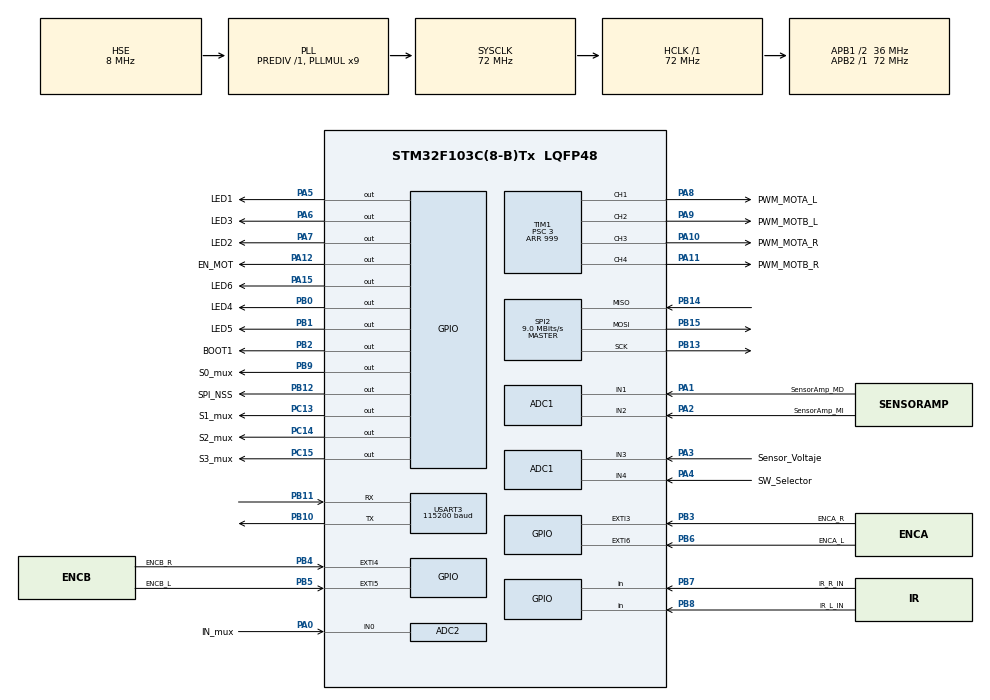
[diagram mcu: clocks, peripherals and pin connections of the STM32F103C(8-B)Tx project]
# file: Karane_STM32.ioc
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ADC1.Channel-0\#ChannelRegularConversion=ADC_CHANNEL_1
ADC1.Channel-1\#ChannelRegularConversion=ADC_CHANNEL_2
ADC1.Channel-2\#ChannelRegularConversion=ADC_CHANNEL_3
ADC1.Channel-3\#ChannelRegularConversion=ADC_CHANNEL_4
ADC1.ContinuousConvMode=DISABLE
ADC1.ExternalTrigConv=ADC_SOFTWARE_START
ADC1.NbrOfConversion=4
ADC1.NbrOfConversionFlag=1
ADC1.Rank-0\#ChannelRegularConversion=1
ADC1.Rank-1\#ChannelRegularConversion=2
ADC1.Rank-2\#ChannelRegularConversion=3
ADC1.Rank-3\#ChannelRegularConversion=4
ADC1.SamplingTime-0\#ChannelRegularConversion=ADC_SAMPLETIME_55CYCLES_5
ADC1.SamplingTime-1\#ChannelRegularConversion=ADC_SAMPLETIME_55CYCLES_5
ADC1.SamplingTime-2\#ChannelRegularConversion=ADC_SAMPLETIME_55CYCLES_5
ADC1.SamplingTime-3\#ChannelRegularConversion=ADC_SAMPLETIME_55CYCLES_5
ADC1.master=1
ADC2.Channel-5\#ChannelRegularConversion=ADC_CHANNEL_0
ADC2.ContinuousConvMode=DISABLE
ADC2.ExternalTrigConv=ADC_SOFTWARE_START
ADC2.NbrOfConversionFlag=1
ADC2.Rank-5\#ChannelRegularConversion=1
ADC2.SamplingTime-5\#ChannelRegularConversion=ADC_SAMPLETIME_55CYCLES_5
Dma.ADC1.0.Direction=DMA_PERIPH_TO_MEMORY
Dma.ADC1.0.Instance=DMA1_Channel1
Dma.ADC1.0.MemDataAlignment=DMA_MDATAALIGN_HALFWORD
Dma.ADC1.0.MemInc=DMA_MINC_ENABLE
Dma.ADC1.0.Mode=DMA_CIRCULAR
Dma.ADC1.0.PeriphDataAlignment=DMA_PDATAALIGN_HALFWORD
Dma.ADC1.0.PeriphInc=DMA_PINC_DISABLE
Dma.ADC1.0.Priority=DMA_PRIORITY_LOW
Dma.Request0=ADC1
Mcu.Family=STM32F1
Mcu.Name=STM32F103C(8-B)Tx
Mcu.Package=LQFP48
NVIC.DMA1_Channel1_IRQn=true\:2\:0\:true\:false\:true\:false\:true\:true
NVIC.EXTI3_IRQn=true\:0\:0\:false\:false\:true\:true\:true\:true
NVIC.EXTI4_IRQn=true\:0\:0\:false\:false\:true\:true\:true\:true
NVIC.EXTI9_5_IRQn=true\:0\:0\:false\:false\:true\:true\:true\:true
NVIC.PriorityGroup=NVIC_PRIORITYGROUP_4
NVIC.TIM3_IRQn=true\:1\:0\:true\:false\:true\:true\:true\:true
PA0-WKUP.GPIO_Label=IN_mux
PA0-WKUP.Signal=ADCx_IN0
PA1.GPIO_Label=SensorAmp_MD
PA1.Signal=ADCx_IN1
PA10.GPIO_Label=PWM_MOTA_R
PA10.Signal=S_TIM1_CH3
PA11.GPIO_Label=PWM_MOTB_R
PA11.Signal=S_TIM1_CH4
PA12.GPIO_Label=EN_MOT
PA12.Signal=GPIO_Output
PA13.Mode=Serial_Wire
PA13.Signal=SYS_JTMS-SWDIO
PA14.Mode=Serial_Wire
PA14.Signal=SYS_JTCK-SWCLK
PA15.GPIO_Label=LED6
PA15.PinState=GPIO_PIN_SET
PA15.Signal=GPIO_Output
PA2.GPIO_Label=SensorAmp_MI
PA2.Signal=ADCx_IN2
PA3.GPIO_Label=Sensor_Voltaje
PA3.Signal=ADCx_IN3
PA4.GPIO_Label=SW_Selector
PA4.Signal=ADCx_IN4
PA5.GPIO_Label=LED1
PA5.PinState=GPIO_PIN_SET
PA5.Signal=GPIO_Output
PA6.GPIO_Label=LED3
PA6.PinState=GPIO_PIN_SET
PA6.Signal=GPIO_Output
PA7.GPIO_Label=LED2
PA7.PinState=GPIO_PIN_SET
PA7.Signal=GPIO_Output
PA8.GPIO_Label=PWM_MOTA_L
PA8.Signal=S_TIM1_CH1
PA9.GPIO_Label=PWM_MOTB_L
PA9.Signal=S_TIM1_CH2
PB0.GPIO_Label=LED4
PB0.PinState=GPIO_PIN_SET
PB0.Signal=GPIO_Output
PB1.GPIO_Label=LED5
PB1.PinState=GPIO_PIN_SET
PB1.Signal=GPIO_Output
PB10.Mode=Asynchronous
PB10.Signal=USART3_TX
PB11.Mode=Asynchronous
PB11.Signal=USART3_RX
PB12.GPIO_Label=SPI_NSS
PB12.GPIO_Speed=GPIO_SPEED_FREQ_HIGH
PB12.PinState=GPIO_PIN_SET
PB12.Signal=GPIO_Output
PB13.Mode=Full_Duplex_Master
PB13.Signal=SPI2_SCK
PB14.Mode=Full_Duplex_Master
PB14.Signal=SPI2_MISO
PB15.Mode=Full_Duplex_Master
PB15.Signal=SPI2_MOSI
PB2.GPIO_Label=BOOT1
PB2.Signal=GPIO_Output
PB3.GPIO_Label=ENCA_R
PB3.GPIO_ModeDefaultEXTI=GPIO_MODE_IT_RISING_FALLING
PB3.Signal=GPXTI3
PB4.GPIO_Label=ENCB_R
PB4.GPIO_ModeDefaultEXTI=GPIO_MODE_IT_RISING_FALLING
PB4.Signal=GPXTI4
PB5.GPIO_Label=ENCB_L
PB5.GPIO_ModeDefaultEXTI=GPIO_MODE_IT_RISING_FALLING
PB5.Signal=GPXTI5
PB6.GPIO_Label=ENCA_L
PB6.GPIO_ModeDefaultEXTI=GPIO_MODE_IT_RISING_FALLING
PB6.Signal=GPXTI6
PB7.GPIO_Label=IR_R_IN
PB7.Signal=GPIO_Input
PB8.GPIO_Label=IR_L_IN
PB8.Signal=GPIO_Input
PB9.GPIO_Label=S0_mux
PB9.GPIO_Speed=GPIO_SPEED_FREQ_HIGH
PB9.Signal=GPIO_Output
PC13-TAMPER-RTC.GPIO_Label=S1_mux
PC13-TAMPER-RTC.GPIO_Speed=GPIO_SPEED_FREQ_HIGH
PC13-TAMPER-RTC.Signal=GPIO_Output
PC14-OSC32_IN.GPIO_Label=S2_mux
PC14-OSC32_IN.GPIO_Speed=GPIO_SPEED_FREQ_HIGH
PC14-OSC32_IN.Signal=GPIO_Output
PC15-OSC32_OUT.GPIO_Label=S3_mux
PC15-OSC32_OUT.GPIO_Speed=GPIO_SPEED_FREQ_HIGH
PC15-OSC32_OUT.Signal=GPIO_Output
PD0-OSC_IN.Mode=HSE-External-Oscillator
PD0-OSC_IN.Signal=RCC_OSC_IN
PD1-OSC_OUT.Mode=HSE-External-Oscillator
PD1-OSC_OUT.Signal=RCC_OSC_OUT
ProjectManager.HeapSize=0x200
ProjectManager.StackSize=0x400
ProjectManager.TargetToolchain=STM32CubeIDE
RCC.ADCPresc=RCC_ADCPCLK2_DIV6
RCC.AHBFreq_Value=72000000
RCC.APB1CLKDivider=RCC_HCLK_DIV2
RCC.APB1Freq_Value=36000000
RCC.APB1TimFreq_Value=72000000
RCC.APB2Freq_Value=72000000
RCC.APB2TimFreq_Value=72000000
RCC.HCLKFreq_Value=72000000
RCC.PLLMUL=RCC_PLL_MUL9
RCC.PLLSourceVirtual=RCC_PLLSOURCE_HSE
RCC.SYSCLKFreq_VALUE=72000000
RCC.SYSCLKSource=RCC_SYSCLKSOURCE_PLLCLK
RCC.USBFreq_Value=72000000
SH.ADCx_IN0.0=ADC2_IN0,IN0
SH.ADCx_IN1.0=ADC1_IN1,IN1
SH.ADCx_IN2.0=ADC1_IN2,IN2
SH.ADCx_IN3.0=ADC1_IN3,IN3
SH.ADCx_IN4.0=ADC1_IN4,IN4
SH.S_TIM1_CH1.0=TIM1_CH1,PWM Generation1 CH1
SH.S_TIM1_CH2.0=TIM1_CH2,PWM Generation2 CH2
SH.S_TIM1_CH3.0=TIM1_CH3,PWM Generation3 CH3
SH.S_TIM1_CH4.0=TIM1_CH4,PWM Generation4 CH4
SPI2.BaudRatePrescaler=SPI_BAUDRATEPRESCALER_4
SPI2.CalculateBaudRate=9.0 MBits/s
SPI2.Direction=SPI_DIRECTION_2LINES
SPI2.Mode=SPI_MODE_MASTER
SPI2.VirtualType=VM_MASTER
TIM1.Channel-PWM\ Generation1\ CH1=TIM_CHANNEL_1
TIM1.Channel-PWM\ Generation2\ CH2=TIM_CHANNEL_2
TIM1.Channel-PWM\ Generation3\ CH3=TIM_CHANNEL_3
TIM1.Channel-PWM\ Generation4\ CH4=TIM_CHANNEL_4
TIM1.Period=999
TIM1.Prescaler=3
TIM3.AutoReloadPreload=TIM_AUTORELOAD_PRELOAD_ENABLE
TIM3.Period=49
TIM3.Prescaler=71
USART3.BaudRate=115200
USART3.VirtualMode=VM_ASYNC
VP_TIM1_VS_ClockSourceINT.Mode=Internal
VP_TIM3_VS_ClockSourceINT.Mode=Internal
board=custom

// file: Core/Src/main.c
/* USER CODE BEGIN Header */
/**
  ******************************************************************************
  * @file           : main.c
  * @brief          : Main program body
  ******************************************************************************
  * @attention
  *
  * Copyright (c) 2025 STMicroelectronics.
  * All rights reserved.
  *
  * This software is licensed under terms that can be found in the LICENSE file
  * in the root directory of this software component.
  * If no LICENSE file comes with this software, it is provided AS-IS.
  *
  ******************************************************************************
  */
/* USER CODE END Header */
#include "main.h"
#include "adc.h"
#include "dma.h"
#include "spi.h"
#include "tim.h"
#include "usart.h"
#include "gpio.h"

/* USER CODE BEGIN Includes */
#include <string.h>
#include <stdio.h>
#include <math.h>
#include <stdbool.h>
#include "LIB_MPU6500_SPI.h"
#include "LIB_DEBUG.h"
#include "LIB_FUNCIONES.h"
#include "LIB_MENU.h"
#include "LIB_Motores.h"

/* USER CODE END Includes */

/* USER CODE BEGIN PD */

#undef	DEBUG
#define DEBUG		0

#define	ADC_VREF	3.36
#define	Volt_Proteccion_Batt 	6.0

#define PWM_offset 	350
#define	Linea_setpoint	500
#define tickMax 20
#define tickMin 2
#define GyroMax 400.0f

#define NumSensores 16

#define	KPLINEA 1.8
#define	KILINEA 0.001
#define	KDLINEA 0.001

#define	KPGYRO 1.9
#define	KIGYRO 0.00
#define	KDGYRO 0.0

#define KPML	1.2
#define KIML	2
#define KDML	0.0

#define KPMR	1.2
#define KIMR	2
#define KDMR	0.0

#define umbralMenu			150
#define umbralGyro			1.0f
/* USER CODE END PD */

/* USER CODE BEGIN PV */

/* Se inicializan todas las estructuras a usar */

volatile odometria_init_t odometria={0.0,0.0,0.0,0.0,0,0};
MPU6500_Init_Values_t 	MPU6500_Raw;
MPU6500_Init_float_t	MPU6500_Conv;
MPU6500_status_e	MPU6500_Status;
Motores_Init	Motor;
PID	LineaGyro={KPLINEA,KILINEA,KDLINEA,	0,0,300,GyroMax};
PID		Gyro= {KPGYRO,KIGYRO,KDGYRO,	0,0,400,800};
PID	PwmBaseML={KPML,KIML,KDML,		0,0,400,600};
PID	PwmBaseMR={KPMR,KIMR,KDMR,		0,0,400,600};

/* Variables para los ADC */

uint16_t ADC_DMA[4];	//datos DMA
volatile uint8_t ValorBTN=0;
float valorAnteriorFiltro=0;
float voltaje,A_ML,A_MR=0;

/* Variables para los encoders*/
const int8_t estadoTabla[16]={0,-1,1,0,1,0,0,-1,-1,0,0,1,0,1,-1,0}; //valor encoders de tabla de verdad
volatile uint8_t estadoAnterior_L=0;
volatile uint8_t estadoAnterior_R=0;
volatile int32_t actualTickMR,anteriorMR,deltaTicksMR,PeriodoTicksMR=0;
volatile int32_t actualTickML,anteriorML,deltaTicksML,PeriodoTicksML=0;

/*variables para Regleta de sensores*/

const uint8_t PosicionesSensores[16]={7,6,5,4,3,2,1,0,8,9,10,11,12,13,14,15};

volatile uint16_t 	RegletaSensores[16]={0};
int16_t UltimaPosicion	=Linea_setpoint;	// var donde se almacenara la posicion en la linea
volatile unsigned long sumaPonderada = 0;
volatile unsigned long sumaLecturas = 0;
volatile unsigned long peso=0;

/*Timers para funciones*/
volatile bool		enableProg=false;
volatile bool		Timer_DEBUG=false;
volatile bool		flagTimer10ms=false;
volatile bool 		flagStartPID=false;
volatile bool 		flagTimerGyro=false;
volatile bool 		flagStartRegleta=false;

/* Variables para el menu */
bool 	validarPulso=false;
uint8_t valorMenu=0;
bool	validarInicio=false;

float GyroObjetivo=0;
float PwmObjetivo=0;
float anguloGyro=0;
int32_t tick_L=0;
int32_t tick_R=0;
float PWMbase_MR=0;
float PWMbase_ML=0;

float setpoint_L=tickMax;
float setpoint_R=tickMax;
int16_t EscalonTick=0;
/////////////////////
/* USER CODE END PV */

void SystemClock_Config(void);
/* USER CODE BEGIN PFP */
void InicializarSistema();
void InicializarValores();
/* USER CODE END PFP */

int main(void)
{

  /* MCU Configuration--------------------------------------------------------*/

  /* Reset of all peripherals, Initializes the Flash interface and the Systick. */
  HAL_Init();

  /* Configure the system clock */
  SystemClock_Config();

  /* Initialize all configured peripherals */
  MX_GPIO_Init();
  MX_DMA_Init();
  MX_ADC1_Init();
  MX_SPI2_Init();
  MX_USART3_UART_Init();
  MX_TIM1_Init();
  MX_ADC2_Init();
  MX_TIM3_Init();
  /* USER CODE BEGIN 2 */
  InicializarSistema();

  /* USER CODE END 2 */

  /* Infinite loop */
  while (1)
  {

    /* USER CODE BEGIN 3 */

	if(flagTimerGyro)
	{

		/* Dependiendo donde se necesite se puede cambiar ahora esta a 1ms*/
		MPU6500_Read(&MPU6500_Raw);
		MPU6500_Conv=MPU6500_Converter(&MPU6500_Raw);
		if(MPU6500_Conv.MPU6500_floatGX<umbralGyro && MPU6500_Conv.MPU6500_floatGX>-umbralGyro)
		{
			MPU6500_Conv.MPU6500_floatGX=0.0f;
		}
		if(MPU6500_Conv.MPU6500_floatGY<umbralGyro && MPU6500_Conv.MPU6500_floatGY>-umbralGyro)
		{
			MPU6500_Conv.MPU6500_floatGY=0.0f;
		}
		if(MPU6500_Conv.MPU6500_floatGZ<umbralGyro && MPU6500_Conv.MPU6500_floatGZ>-umbralGyro)
		{
			MPU6500_Conv.MPU6500_floatGZ=0.0f;
		}
		anguloGyro+=(MPU6500_Conv.MPU6500_floatGZ*0.001f);
		/***********************************************************/
		flagTimerGyro=false;
		flagStartRegleta=true;
	}
	/*
	 *  Aca se ejecutara el PID una vez terminado de leer el mpu y la regleta de sensores
	 * se puede cambiar a un tiempo fijo
	 *
	 */
	if (flagStartPID ) {
		/*
		 * Primero obtenemos el PID para obtener los grados que debera girar el robot respecto
		 * al centro de la linea no superar -400g/s y +400 g/s o se puede cambia segun necesidad
		 *
		 */

		if(UltimaPosicion<5 && UltimaPosicion>-5)
		{
			UltimaPosicion=0;
		}

		GyroObjetivo=funcion_calcularPID(&LineaGyro, 0, UltimaPosicion, 0.0015f);

		/*	Con este valor recien entrar al pid que nos importa */

		PwmObjetivo=funcion_calcularPID(&Gyro, GyroObjetivo, MPU6500_Conv.MPU6500_floatGZ, 0.0015f);
		PWMbase_ML=270;
		PWMbase_MR=270;

		Motor.PWM_ML=(int16_t)(PWMbase_ML-PwmObjetivo);
		Motor.PWM_MR=(int16_t)(PWMbase_MR+PwmObjetivo);
		PWM_Motores(&Motor);

		flagStartPID=false;
	}

	/*Aca calcularemos los datos que no necesitan ser procesados a alta velocidad*/
	if(flagTimer10ms)
	{
		/*obtenemos el voltaje*/
		int16_t ConvFloat=(int16_t)ADC_DMA[2];
		voltaje=(float)ConvFloat*(ADC_VREF/4095.0f);
		voltaje*=3.2641f;

		/*
		 * Para la corriente se usa Vref=(I*G*Rshunt)+Vref
		 * quedando con R=0.05 Vref=3.3v/2   G=20
		 * I=Vref-1.65v
		 * */
		ConvFloat=(int16_t)(ADC_DMA[1]-2048);
		A_ML=(float)ConvFloat*(ADC_VREF/4095.0f);

		ConvFloat=(int16_t)(ADC_DMA[0]-2048);
		A_MR=(float)ConvFloat*(ADC_VREF/4095.0f);
		A_MR*=(-1);

		//Lectura ADC para luego validacion en el menu
		if (ADC_DMA[3] > 3500)      ValorBTN = BTN_DERECHA;   // Rango 3500 - 4095
		else if (ADC_DMA[3] > 2400) ValorBTN = BTN_ACEPTAR;   // Rango 2400 - 3499
		else if (ADC_DMA[3] > 1800) ValorBTN = BTN_IZQUIERDA; // Rango 1800 - 2399
		else                     ValorBTN = 0;             // Reposo / Ruido

		static uint8_t confirmacionPulso=0;
		if(ValorBTN!=0)
		{
			confirmacionPulso++;
			if(confirmacionPulso>20)
			{
				if(!validarPulso)
				{
					validarPulso=true;
					valorMenu=Menu_Navegacion(ValorBTN);
					Menu_ubicacion(valorMenu);
				}
			}
		}
		else{
			confirmacionPulso=0;
			validarPulso=false;
		}

		/*
		 * Codigo para segun el valor de la linea obtener un factor para reducir los tick
		 * y tener una rampa que segun cual sea el valor sumar o restar
		 */

		int16_t Encoder_setpoint=0;
		int16_t valorEncoder=UltimaPosicion;
		valorEncoder=(valorEncoder<0)?valorEncoder*(-1):valorEncoder;
		if (valorEncoder > 200) {
		    // Si hay curva, el setpoint baja proporcionalmente
		    float factorEncoder = (valorEncoder - 100) / GyroMax;
		    Encoder_setpoint =(int16_t) tickMax - (factorEncoder * (tickMax - tickMin));
		} else {
		    Encoder_setpoint = tickMax;

		}
		/// revisar esto para bajar los ticks cuando este en curva o quitar lo anterior y solo
		/// usar esto ya que lo anterior no tienen mucho sentido ya que restat tick y luego
		/// volvemos a sumarlo

		if (EscalonTick < Encoder_setpoint) EscalonTick += 1;
		else if (EscalonTick > Encoder_setpoint) EscalonTick -= 1;

		/*
		 * Teniendo el valor de ticks segun la linea donde estemos se hace el pid antes
		 * leyendo los ticks del encoder y asi obteniendo el PWM base para cada motor
		 * revisarlo ya que puede meter valores negativos al enconder y no es lo optimo
		 */
        float ajusteTicks = PwmObjetivo / 40.0f;

        setpoint_L = (float)EscalonTick - ajusteTicks;
        setpoint_R = (float)EscalonTick + ajusteTicks;

		tick_R=odometria.ticks_R;
		tick_L=odometria.ticks_L;
		odometria.ticks_R=0;
		odometria.ticks_L=0;

			PWMbase_ML=0;//funcion_calcularPID(&PwmBaseML,setpoint_L, (float) tick_L, 0.02);
			PWMbase_MR=0;//funcion_calcularPID(&PwmBaseMR, setpoint_R, (float) tick_R, 0.02);

		flagTimer10ms=false;
	}

	if(0)//Timer_DEBUG)
	{

		char buffer[30];
		sprintf(buffer,"angulo=%0.2f ,",anguloGyro);
		HAL_UART_Transmit(&huart3, (uint8_t *)buffer, strlen(buffer), HAL_MAX_DELAY);

		//DEBUG_RegletaSensores(UltimaPosicion);
		//DEBUG_IMU_Conv(MPU6500_Conv.MPU6500_floatAX,MPU6500_Conv.MPU6500_floatAY,MPU6500_Conv.MPU6500_floatAZ,MPU6500_Conv.MPU6500_floatGX,MPU6500_Conv.MPU6500_floatGY,MPU6500_Conv.MPU6500_floatGZ);
		//DEBUG_IMU_Raw(MPU6500_Datos.MPU6500_ACCELX.MPU6500_int16,MPU6500_Datos.MPU6500_ACCELY.MPU6500_int16,MPU6500_Datos.MPU6500_ACCELZ.MPU6500_int16,	MPU6500_Datos.MPU6500_GYROX.MPU6500_int16,MPU6500_Datos.MPU6500_GYROY.MPU6500_int16,MPU6500_Datos.MPU6500_GYROZ.MPU6500_int16);

		//DEBUG_ADC_Value(voltaje, A_ML, A_MR);
		//DEBUG_ADC_RAW(ADC_DMA[0], ADC_DMA[1], ADC_DMA[2], ADC_DMA[3]);

		//DEBUG_Encoders(odometria.ticks_L, odometria.ticks_R, 0);
		DEBUG_Encoders(tick_L,tick_R, 0);
		Timer_DEBUG=false;
	}

	/* Aca se ejecutara el codigo si se dio aceptar y dependiendo el menu donde este*/
	if(Menu_Ejecucion())
	{
		switch (valorMenu) {
		case Opcion_Calibracion_Sensores:
			break;
		case Opcion_Iniciar_CodigoA:
			if(!validarInicio)
			{
				HAL_Delay(1000);
				validarInicio=true;
				enableProg=true;
				Motor.ENABLE=true;
				InicializarValores();
			}
			break;
		}
	}
	else{
		validarInicio=false;
		enableProg=false;
		Motor.ENABLE=false;
	}

  }
  /* USER CODE END 3 */
}

void SystemClock_Config(void)
{
  RCC_OscInitTypeDef RCC_OscInitStruct = {0};
  RCC_ClkInitTypeDef RCC_ClkInitStruct = {0};
  RCC_PeriphCLKInitTypeDef PeriphClkInit = {0};

  /** Initializes the RCC Oscillators according to the specified parameters
  * in the RCC_OscInitTypeDef structure.
  */
  RCC_OscInitStruct.OscillatorType = RCC_OSCILLATORTYPE_HSE;
  RCC_OscInitStruct.HSEState = RCC_HSE_ON;
  RCC_OscInitStruct.HSEPredivValue = RCC_HSE_PREDIV_DIV1;
  RCC_OscInitStruct.HSIState = RCC_HSI_ON;
  RCC_OscInitStruct.PLL.PLLState = RCC_PLL_ON;
  RCC_OscInitStruct.PLL.PLLSource = RCC_PLLSOURCE_HSE;
  RCC_OscInitStruct.PLL.PLLMUL = RCC_PLL_MUL9;
  if (HAL_RCC_OscConfig(&RCC_OscInitStruct) != HAL_OK)
  {
    Error_Handler();
  }

  /** Initializes the CPU, AHB and APB buses clocks
  */
  RCC_ClkInitStruct.ClockType = RCC_CLOCKTYPE_HCLK|RCC_CLOCKTYPE_SYSCLK
                              |RCC_CLOCKTYPE_PCLK1|RCC_CLOCKTYPE_PCLK2;
  RCC_ClkInitStruct.SYSCLKSource = RCC_SYSCLKSOURCE_PLLCLK;
  RCC_ClkInitStruct.AHBCLKDivider = RCC_SYSCLK_DIV1;
  RCC_ClkInitStruct.APB1CLKDivider = RCC_HCLK_DIV2;
  RCC_ClkInitStruct.APB2CLKDivider = RCC_HCLK_DIV1;

  if (HAL_RCC_ClockConfig(&RCC_ClkInitStruct, FLASH_LATENCY_2) != HAL_OK)
  {
    Error_Handler();
  }
  PeriphClkInit.PeriphClockSelection = RCC_PERIPHCLK_ADC;
  PeriphClkInit.AdcClockSelection = RCC_ADCPCLK2_DIV6;
  if (HAL_RCCEx_PeriphCLKConfig(&PeriphClkInit) != HAL_OK)
  {
    Error_Handler();
  }
}

/* USER CODE BEGIN 4 */
void InicializarSistema()
{
	HAL_Delay(2000);
	  Menu_aviso(Aviso_ok);

	  MPU6500_Status=MPU6500_Init(&MPU6500_Raw,50,DPS250,G2);
	  if (MPU6500_Status==MPU6500_fail) {
	  	for (;;) {
	  		DEBUG_Imprimir("Fallo al iniciar MPU\r\n");
	  		Menu_aviso(Aviso_fallo);
	  		}
	  }
	  DEBUG_Imprimir("Exito al iniciar MPU\r\n");

	  HAL_Delay(3000);
	  Menu_aviso(Apagar_LED);
	  Inicializar_Motores(&Motor);
	 __HAL_TIM_MOE_ENABLE(&htim1);

	 HAL_ADC_Start_DMA(&hadc1, (uint32_t *)ADC_DMA, 4);
	 //HAL_ADC_Start(&hadc2);
	 HAL_TIM_Base_Start_IT(&htim3);

	 enableProg=false;

}
void HAL_GPIO_EXTI_Callback(uint16_t GPIO_Pin)
{
		/*
		 * Se leen los enconder con tabla de verdad para sumar o restar cada uno respectivamente
		 * estadoTabla[16]={0,-1,1,0,1,0,0,-1,-1,0,0,1,0,1,-1,0}
		 * se niega un lado debido a la conexion que tiene
		 */
	if(GPIO_Pin==ENCA_L_Pin||GPIO_Pin==ENCB_L_Pin)
		{
		uint8_t bitStatusL=((HAL_GPIO_ReadPin(ENCA_L_GPIO_Port, ENCA_L_Pin))?2:0) | ((HAL_GPIO_ReadPin(ENCB_L_GPIO_Port, ENCB_L_Pin))?1:0);
		odometria.ticks_L+=estadoTabla[((estadoAnterior_L<<2)|bitStatusL)];
		estadoAnterior_L=bitStatusL;
		}
	if(GPIO_Pin==ENCA_R_Pin||GPIO_Pin==ENCB_R_Pin)
		{
		uint8_t bitStatusR=((HAL_GPIO_ReadPin(ENCA_R_GPIO_Port, ENCA_R_Pin))?2:0) | ((HAL_GPIO_ReadPin(ENCB_R_GPIO_Port, ENCB_R_Pin))?1:0);
		odometria.ticks_R+=(-estadoTabla[((estadoAnterior_R<<2)|bitStatusR)]);
		estadoAnterior_R=bitStatusR;
		}
}
void HAL_TIM_PeriodElapsedCallback(TIM_HandleTypeDef *htim) {
   if (htim->Instance == TIM3) {
	   /*	Timer3 a 200us preescaler de 71 y cnt 199
	    * 				50us preescaler 71 y cnt 49 prueba
	    *	Iniciamos conversion del adc
	    *	(se podria mejorar probando tiempo mas cortos)
	    */
	  // static uint16_t	ContadorTimDMA_PID1=0;
	  /// static uint16_t	ContadorTimPID2=0;
	   static uint16_t	ContadorTimerDEBUG=0;

	   static uint16_t	ContadorTimer10ms=0;
	   static uint8_t 	MuxSel=0;
	   static uint16_t ContadorTimerGyro=0;

	   if(ContadorTimerDEBUG++>8000)
		{
		   Timer_DEBUG=true;
		   ContadorTimerDEBUG=0;
		}

	   if (ContadorTimer10ms++>200) {
		   // 1. Asegurar que el bit DMA esté activo
		   ADC1->CR2 |= ADC_CR2_DMA;
		   // 2. Configurar el disparador para SWSTART (esto es lo que le falta a tu código)
		   // EXTTRIG (bit 20) debe ser 1 y EXTSEL (bits 19:17) debe ser 111 (7 decimal)
		   ADC1->CR2 |= (0x7 << 17) | ADC_CR2_EXTTRIG;
		   // 3. Iniciar la conversión
		   ADC1->CR2 |= ADC_CR2_SWSTART;

		   flagTimer10ms=true;
		   ContadorTimer10ms=0;
	   }
	   if(ContadorTimerGyro++>20)
	   {
		   /*Timer a 1ms para el gyro*/
		   flagTimerGyro=true;
		   ContadorTimerGyro=0;
	   }

	   if(flagStartRegleta)
	   {
		   /* Terminado la lectura de Gyro a 1ms manda una bandera para empezar
		    * lectura de regleta y terminado se borra la flag para esperar otra bandera
		    * */

	   if(MuxSel<16)
	   {
		   ADC2->CR2 |= ADC_CR2_ADON;
		   ADC2->CR2 &= ~ADC_CR2_DMA;

		   // 2. Configurar el trigger a Software (SWSTART = 0x7 en EXTSEL)
		   // Esto es vital: si EXTSEL no es 7, SWSTART no hace nada.
		   ADC2->CR2 |= (0x7 << 17) | ADC_CR2_EXTTRIG;

		   // 3. Disparar
		   ADC2->CR2 |= ADC_CR2_SWSTART;

		   while (!(ADC2->SR & ADC_SR_EOC));

		   RegletaSensores[MuxSel] = (uint16_t)ADC2->DR;
		   //if(RegletaSensores[MuxSel]>RegletaMax[MuxSel]){RegletaMax[MuxSel]=RegletaSensores[MuxSel];}
		   //if(RegletaSensores[MuxSel]<RegletaMin[MuxSel]){RegletaMin[MuxSel]=RegletaSensores[MuxSel];}

		   // Se realizara una media ponderada normalizada entre 0-1000 donde 0 es iquierda y 1000 derecha
		   // Umbral de ruido: 10% del valor máximo (4095 * 0.1 = 409)
		   if (RegletaSensores[MuxSel] > 600) {
			   // Peso del sensor (de 0 a 1000)
			   peso = (MuxSel * 1000L) / (NumSensores - 1);
			   sumaPonderada += peso * RegletaSensores[MuxSel];
			   sumaLecturas += RegletaSensores[MuxSel];
		   }

		   MuxSel++;
	   }
	   else{
		   if(sumaLecturas>0)
		   {
			   UltimaPosicion = (int16_t)(sumaPonderada / sumaLecturas)-500;
		   }
		   MuxSel=0;
		   sumaLecturas=0;
		   sumaPonderada=0;
		   peso=0;
		   /* Reiniciamos tiempo regleta hasta el otro pulso y empezamos el pid */
		   flagStartRegleta=false;
		   flagStartPID=true;
	   }
	   uint8_t sel = PosicionesSensores[MuxSel];

	   S0_mux_GPIO_Port->BSRR = (sel & 0x01) ? S0_mux_Pin : (S0_mux_Pin << 16);
	   S1_mux_GPIO_Port->BSRR = (sel & 0x02) ? S1_mux_Pin : (S1_mux_Pin << 16);
	   S2_mux_GPIO_Port->BSRR = (sel & 0x04) ? S2_mux_Pin : (S2_mux_Pin << 16);
	   S3_mux_GPIO_Port->BSRR = (sel & 0x08) ? S3_mux_Pin : (S3_mux_Pin << 16);

	   for (int var = 0; var < 20; ++var) {
		   __NOP();
	   }
   }

   }
}
void InicializarValores()
{
	LineaGyro.ultimoError=0;
	LineaGyro.integral=0;
	Gyro.ultimoError=0;
	Gyro.integral=0;
	PwmBaseML.ultimoError=0;
	PwmBaseML.integral=0;
	PwmBaseMR.ultimoError=0;
	PwmBaseMR.integral=0;
	PwmObjetivo=0;
	GyroObjetivo=0;
	PWMbase_ML=0;
	PWMbase_MR=0;
	setpoint_L=0;
	setpoint_R=0;
	EscalonTick=0;
}

/* USER CODE END 4 */

void Error_Handler(void)
{
  __disable_irq();
  while (1)
  {
  }
}
